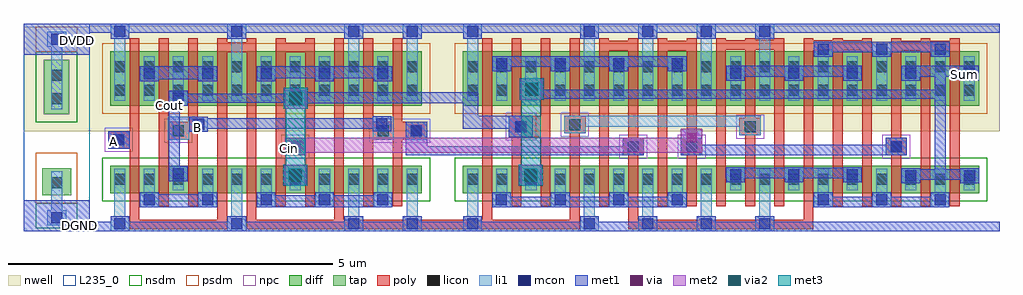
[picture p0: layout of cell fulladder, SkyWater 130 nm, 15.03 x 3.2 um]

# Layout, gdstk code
import gdstk
lib = gdstk.Library(unit=1e-6, precision=1e-09)
def R(c, l, rs):  # rectangles x0, y0, x1, y1
    for r in rs: c.add(gdstk.rectangle(r[:2], r[2:], *l))
def A(c, l, x, y, w, h, nx, ny, dx, dy):  # array of equal rectangles
    R(c, l, [(x+i*dx, y+j*dy, x+i*dx+w, y+j*dy+h) for i in range(nx) for j in range(ny)])
nwell = (64, 20)
diff = (65, 20)
tap = (65, 44)
poly = (66, 20)
licon = (66, 44)
li1 = (67, 20)
mcon = (67, 44)
met1 = (68, 20)
via = (68, 44)
met2 = (69, 20)
via2 = (69, 44)
met3 = (70, 20)
nsdm = (93, 44)
psdm = (94, 20)
npc = (95, 20)
L235_0 = (235, 0)

pfet = lib.new_cell('pfet')
R(pfet, nwell, [(-0.315,-0.39,1.065,1.23)])
R(pfet, diff, [(0,0,0.75,0.84)])
R(pfet, poly, [(0.3,-0.2,0.45,1.04)])
R(pfet, licon, [(0.065,0.155,0.235,0.325), (0.515,0.155,0.685,0.325), (0.065,0.515,0.235,0.685), (0.515,0.515,0.685,0.685)])
R(pfet, li1, [(0.065,0.075,0.235,0.765), (0.515,0.075,0.685,0.765)])
R(pfet, psdm, [(-0.125,-0.125,0.875,0.965)])

vias_gen_1 = lib.new_cell('vias_gen$1')
R(vias_gen_1, poly, [(0,0,0.37,0.33)])
R(vias_gen_1, licon, [(0.1,0.08,0.27,0.25)])
R(vias_gen_1, li1, [(0,0,0.37,0.33)])
R(vias_gen_1, mcon, [(0.1,0.08,0.27,0.25)])
R(vias_gen_1, met1, [(0,0,0.37,0.33)])
R(vias_gen_1, npc, [(-0.05,-0.05,0.42,0.38)])

nfet = lib.new_cell('nfet')
R(nfet, diff, [(0,0,0.75,0.42)])
R(nfet, poly, [(0.3,-0.2,0.45,0.62)])
R(nfet, licon, [(0.065,0.125,0.235,0.295), (0.515,0.125,0.685,0.295)])
R(nfet, li1, [(0.065,0.045,0.235,0.375), (0.515,0.045,0.685,0.375)])
R(nfet, nsdm, [(-0.125,-0.125,0.875,0.545)])

vias_gen_1_1 = lib.new_cell('vias_gen$1$1')
R(vias_gen_1_1, li1, [(0,0,0.29,0.23)])
R(vias_gen_1_1, mcon, [(0.06,0.03,0.23,0.2)])
R(vias_gen_1_1, met1, [(0,0,0.29,0.23)])

vias_gen_5 = lib.new_cell('vias_gen$5')
R(vias_gen_5, met1, [(0,0,0.37,0.33)])
R(vias_gen_5, via, [(0.11,0.09,0.26,0.24)])
R(vias_gen_5, met2, [(0,0,0.37,0.33)])
R(vias_gen_5, via2, [(0.085,0.065,0.285,0.265)])
R(vias_gen_5, met3, [(0,0,0.37,0.33)])

vias_gen_2 = lib.new_cell('vias_gen$2')
R(vias_gen_2, poly, [(0,0,0.33,0.27)])
R(vias_gen_2, licon, [(0.08,0.05,0.25,0.22)])
R(vias_gen_2, li1, [(0,0,0.33,0.27)])
R(vias_gen_2, mcon, [(0.08,0.05,0.25,0.22)])
R(vias_gen_2, met1, [(0,0,0.33,0.27)])
R(vias_gen_2, npc, [(-0.05,-0.05,0.38,0.32)])

vias_gen_3 = lib.new_cell('vias_gen$3')
R(vias_gen_3, poly, [(0,0,0.33,0.27)])
R(vias_gen_3, licon, [(0.08,0.05,0.25,0.22)])
R(vias_gen_3, li1, [(0,0,0.33,0.27)])
R(vias_gen_3, npc, [(-0.05,-0.05,0.38,0.32)])

vias_gen_4 = lib.new_cell('vias_gen$4')
R(vias_gen_4, met1, [(0,0,0.33,0.27)])
R(vias_gen_4, via, [(0.09,0.06,0.24,0.21)])
R(vias_gen_4, met2, [(0,0,0.33,0.27)])

vias_gen = lib.new_cell('vias_gen')
R(vias_gen, li1, [(0,0,0.29,0.23)])
R(vias_gen, mcon, [(0.06,0.03,0.23,0.2)])
R(vias_gen, met1, [(0,0,0.29,0.23)])

tap_ = lib.new_cell('tap')
R(tap_, nwell, [(-1.455,0.92,-0.435,2.525)])
R(tap_, tap, [(-1.17,-0.07,-0.72,0.35), (-1.14,1.18,-0.75,2.02)])
R(tap_, licon, [(-1.03,0.04,-0.86,0.21), (-1.03,1.335,-0.86,1.505), (-1.03,1.695,-0.86,1.865)])
R(tap_, li1, [(-1.03,-0.3,-0.86,-0.025), (-1.03,-0.025,-0.86,0.305), (-1.03,1.255,-0.86,1.945), (-1.03,1.945,-0.86,2.25)])
R(tap_, met1, [(-1.455,-0.625,-0.435,-0.145), (-1.455,2.095,-0.435,2.575)])
R(tap_, nsdm, [(-1.265,-0.575,-0.625,-0.195), (-1.265,1.055,-0.625,2.145)])
R(tap_, psdm, [(-1.265,-0.195,-0.625,0.59), (-1.265,2.145,-0.625,2.525)])
R(tap_, L235_0, [(-1.455,-0.625,-0.435,2.575)])
tap_.add(gdstk.Reference(vias_gen, (-1.09,-0.53)))
tap_.add(gdstk.Reference(vias_gen, (-1.09,2.22)))

fulladder = lib.new_cell('fulladder')
A(fulladder, poly, -4.56, -1.45, 0.15, 0.525, 10, 1, 0.45, 0)
A(fulladder, poly, 0.87, -1.45, 0.15, 0.525, 17, 1, 0.45, 0)
R(fulladder, poly, [(-4.56,-2.63,-4.41,-2.27), (-4.41,-2.63,-3.21,-2.48), (-3.21,-2.63,-3.06,-2.27), (-2.76,-2.63,-2.61,-2.27), (-2.61,-2.63,-1.41,-2.48), (-1.41,-2.63,-1.26,-2.27), (-1.26,-2.63,0.87,-2.48), (0.87,-2.63,1.02,-2.27), (1.02,-2.63,2.22,-2.48), (2.22,-2.63,2.37,-2.27), (3.12,-2.63,3.27,-2.27), (3.27,-2.63,5.82,-2.48), (5.82,-2.63,5.97,-2.27), (-0.36,-1.245,-0.31,-0.975), (1.65,-1.21,1.77,-0.88), (-2.16,0.095,-1.86,0.245), (-3.06,0.1,-2.76,0.25), (2.82,0.125,3.12,0.275), (3.72,0.125,4.02,0.275), (7.32,0.125,7.62,0.275), (7.77,0.125,8.07,0.275), (5.97,0.13,6.27,0.28), (6.42,0.13,6.72,0.28), (4.62,0.135,4.92,0.285), (5.07,0.14,5.37,0.29)])
A(fulladder, li1, 2.435, -2.46, 0.17, 0.435, 4, 1, 0.9, 0)
A(fulladder, li1, -4.345, -2.07, 0.17, 0.045, 5, 1, 0.9, 0)
A(fulladder, li1, 1.085, -2.07, 0.17, 0.045, 4, 1, 0.9, 0)
A(fulladder, li1, 6.035, -2.07, 0.17, 0.045, 3, 1, 0.9, 0)
A(fulladder, li1, -4.795, 0.04, 0.17, 0.265, 3, 1, 1.8, 0)
R(fulladder, li1, [(-4.795,-2.46,-4.625,-2.025), (-2.995,-2.46,-2.825,-2.02), (-1.195,-2.46,-1.025,-2.025), (-0.295,-2.46,-0.125,-2.025), (0.635,-2.46,0.805,-2.025), (2.46,-1.05,4.83,-0.88), (-3.975,-0.975,-3.645,-0.895), (-0.82,-0.975,-0.49,-0.895), (4.83,-0.91,5.16,-0.88), (0.635,0.035,0.805,0.31), (3.335,0.035,3.505,0.31), (-0.295,0.04,-0.125,0.305), (2.435,0.04,2.605,0.34), (4.235,0.04,4.405,0.31), (5.135,0.04,5.305,0.31)])
R(fulladder, met1, [(-5.175,-2.66,8.835,-2.515), (-4.35,-2.29,-3.285,-2.085), (-2.545,-2.29,-0.575,-2.1), (1.08,-2.29,3.965,-2.125), (5.97,-2.29,8.01,-2.125), (7.325,-1.865,8.465,-1.7), (4.62,-1.845,6.66,-1.68), (7.835,-1.7,8.005,-0.275), (-3.955,-1.66,-3.785,-0.725), (-0.31,-1.49,3.03,-1.35), (4.26,-1.49,7.08,-1.325), (-0.31,-1.35,0.02,-1.245), (-3.355,-1.08,-0.82,-0.915), (0.57,-1.08,0.81,-0.685), (0.81,-1.08,1.28,-0.88), (-1.82,-0.685,0.81,-0.52), (-3.665,-0.68,-2.155,-0.54), (1.53,-0.62,7.835,-0.48), (-4.345,-0.32,-3.28,-0.115), (-2.55,-0.305,-0.58,-0.115), (4.63,-0.275,6.67,-0.11), (7.325,-0.275,8.465,-0.11), (1.08,-0.125,3.965,0.04), (6.01,0.095,8.05,0.26), (-5.175,0.4,8.835,0.54)])
R(fulladder, met2, [(-1.845,-1.45,4.26,-1.22)])
R(fulladder, met3, [(-2.16,-1.63,-1.86,-0.775), (1.47,-1.63,1.77,-0.635)])
R(fulladder, npc, [(-0.44,-1.295,-0.36,-0.925)])
fulladder.add(gdstk.Reference(pfet, (1.47,-0.725)))
fulladder.add(gdstk.Reference(vias_gen_1, (1.28,-1.21)))
fulladder.add(gdstk.Reference(nfet, (1.02,-2.07)))
fulladder.add(gdstk.Reference(pfet, (1.02,-0.725)))
fulladder.add(gdstk.Reference(pfet, (0.57,-0.725)))
fulladder.add(gdstk.Reference(nfet, (0.57,-2.07)))
fulladder.add(gdstk.Reference(pfet, (1.47,-0.725)))
fulladder.add(gdstk.Reference(vias_gen_1_1, (8.225,-0.34)))
fulladder.add(gdstk.Reference(vias_gen_1_1, (7.325,-0.34)))
fulladder.add(gdstk.Reference(vias_gen_1_1, (8.23,-1.92)))
fulladder.add(gdstk.Reference(vias_gen_1_1, (7.325,-1.92)))
fulladder.add(gdstk.Reference(vias_gen_1_1, (5.975,0.03)))
fulladder.add(gdstk.Reference(vias_gen_1_1, (6.875,0.03)))
fulladder.add(gdstk.Reference(vias_gen_1_1, (7.78,0.03)))
fulladder.add(gdstk.Reference(vias_gen_1_1, (4.625,-1.9)))
fulladder.add(gdstk.Reference(vias_gen_1_1, (5.525,-1.9)))
fulladder.add(gdstk.Reference(vias_gen_1_1, (6.425,-1.9)))
fulladder.add(gdstk.Reference(vias_gen_1_1, (6.425,-0.34)))
fulladder.add(gdstk.Reference(vias_gen_1_1, (5.525,-0.34)))
fulladder.add(gdstk.Reference(vias_gen_1_1, (4.625,-0.34)))
fulladder.add(gdstk.Reference(vias_gen_1_1, (1.925,-0.19)))
fulladder.add(gdstk.Reference(vias_gen_1_1, (2.825,-0.19)))
fulladder.add(gdstk.Reference(vias_gen_1_1, (3.725,-0.19)))
fulladder.add(gdstk.Reference(vias_gen_1_1, (1.925,-2.29)))
fulladder.add(gdstk.Reference(vias_gen_1_1, (1.475,-1.96)))
fulladder.add(gdstk.Reference(vias_gen_1_1, (2.825,-2.29)))
fulladder.add(gdstk.Reference(vias_gen_1_1, (3.725,-2.29)))
fulladder.add(gdstk.Reference(vias_gen_1_1, (5.075,-2.66)))
fulladder.add(gdstk.Reference(vias_gen_1_1, (2.375,-2.66)))
fulladder.add(gdstk.Reference(vias_gen_1_1, (4.175,-2.66)))
fulladder.add(gdstk.Reference(vias_gen_1_1, (3.275,-2.66)))
fulladder.add(gdstk.Reference(vias_gen_1_1, (1.48,-0.58)))
fulladder.add(gdstk.Reference(vias_gen_5, (1.445,-0.635)))
fulladder.add(gdstk.Reference(vias_gen_1_1, (5.975,-2.29)))
fulladder.add(gdstk.Reference(vias_gen_1_1, (6.875,-2.29)))
fulladder.add(gdstk.Reference(vias_gen_5, (1.435,-1.96)))
fulladder.add(gdstk.Reference(vias_gen_1_1, (7.775,-2.29)))
fulladder.add(gdstk.Reference(vias_gen_1_1, (2.375,0.31)))
fulladder.add(gdstk.Reference(vias_gen_1_1, (3.275,0.31)))
fulladder.add(gdstk.Reference(vias_gen_1_1, (4.175,0.31)))
fulladder.add(gdstk.Reference(vias_gen_1_1, (5.075,0.31)))
fulladder.add(gdstk.Reference(nfet, (1.47,-2.07)))
fulladder.add(gdstk.Reference(pfet, (7.77,-0.725)))
fulladder.add(gdstk.Reference(vias_gen_2, (3.93,-1.49)))
fulladder.add(gdstk.Reference(vias_gen_3, (2.13,-1.15)))
fulladder.add(gdstk.Reference(vias_gen_4, (3.93,-1.35)))
fulladder.add(gdstk.Reference(vias_gen_2, (3.03,-1.49)))
fulladder.add(gdstk.Reference(vias_gen_3, (4.83,-1.18)))
fulladder.add(gdstk.Reference(vias_gen_2, (7.08,-1.49)))
fulladder.add(gdstk.Reference(nfet, (1.92,-2.07)))
fulladder.add(gdstk.Reference(pfet, (2.82,-0.725)))
fulladder.add(gdstk.Reference(nfet, (2.82,-2.07)))
fulladder.add(gdstk.Reference(pfet, (3.27,-0.725)))
fulladder.add(gdstk.Reference(nfet, (3.27,-2.07)))
fulladder.add(gdstk.Reference(nfet, (2.37,-2.07)))
fulladder.add(gdstk.Reference(pfet, (2.37,-0.725)))
fulladder.add(gdstk.Reference(pfet, (3.72,-0.725)))
fulladder.add(gdstk.Reference(nfet, (3.72,-2.07)))
fulladder.add(gdstk.Reference(nfet, (4.62,-2.07)))
fulladder.add(gdstk.Reference(pfet, (4.62,-0.725)))
fulladder.add(gdstk.Reference(nfet, (4.17,-2.07)))
fulladder.add(gdstk.Reference(pfet, (5.07,-0.725)))
fulladder.add(gdstk.Reference(pfet, (5.07,-0.725)))
fulladder.add(gdstk.Reference(nfet, (5.07,-2.07)))
fulladder.add(gdstk.Reference(pfet, (5.97,-0.725)))
fulladder.add(gdstk.Reference(nfet, (5.97,-2.07)))
fulladder.add(gdstk.Reference(pfet, (6.42,-0.725)))
fulladder.add(gdstk.Reference(pfet, (4.17,-0.725)))
fulladder.add(gdstk.Reference(nfet, (6.42,-2.07)))
fulladder.add(gdstk.Reference(nfet, (5.52,-2.07)))
fulladder.add(gdstk.Reference(pfet, (6.87,-0.725)))
fulladder.add(gdstk.Reference(pfet, (1.92,-0.725)))
fulladder.add(gdstk.Reference(nfet, (6.87,-2.07)))
fulladder.add(gdstk.Reference(nfet, (7.77,-2.07)))
fulladder.add(gdstk.Reference(nfet, (7.32,-2.07)))
fulladder.add(gdstk.Reference(pfet, (7.32,-0.725)))
fulladder.add(gdstk.Reference(pfet, (5.52,-0.725)))
fulladder.add(gdstk.Reference(pfet, (-3.51,-0.725)))
fulladder.add(gdstk.Reference(nfet, (-4.86,-2.07)))
fulladder.add(gdstk.Reference(nfet, (-4.41,-2.07)))
fulladder.add(gdstk.Reference(pfet, (-2.16,-0.725)))
fulladder.add(gdstk.Reference(pfet, (-4.86,-0.725)))
fulladder.add(gdstk.Reference(tap_, (-4.74,-2.035)))
fulladder.add(gdstk.Reference(pfet, (-4.41,-0.725)))
fulladder.add(gdstk.Reference(pfet, (-3.96,-0.725)))
fulladder.add(gdstk.Reference(vias_gen_5, (-2.19,-0.775)))
fulladder.add(gdstk.Reference(vias_gen_5, (-2.195,-1.96)))
fulladder.add(gdstk.Reference(vias_gen_3, (-0.82,-1.245)))
fulladder.add(gdstk.Reference(vias_gen_3, (-3.975,-1.245)))
fulladder.add(gdstk.Reference(nfet, (-3.51,-2.07)))
fulladder.add(gdstk.Reference(vias_gen_1_1, (-0.82,-1.12)))
fulladder.add(gdstk.Reference(vias_gen_1_1, (-3.645,-1.125)))
fulladder.add(gdstk.Reference(vias_gen_1_1, (-2.155,-1.96)))
fulladder.add(gdstk.Reference(vias_gen_1_1, (-4.405,-2.29)))
fulladder.add(gdstk.Reference(vias_gen_1_1, (-2.605,-0.345)))
fulladder.add(gdstk.Reference(vias_gen_1_1, (-2.605,-2.29)))
fulladder.add(gdstk.Reference(vias_gen_1_1, (-3.505,-2.29)))
fulladder.add(gdstk.Reference(vias_gen_1_1, (-1.705,-0.345)))
fulladder.add(gdstk.Reference(vias_gen_1_1, (-1.705,-2.29)))
fulladder.add(gdstk.Reference(vias_gen_1_1, (-0.805,-2.29)))
fulladder.add(gdstk.Reference(vias_gen_1_1, (-0.805,-0.345)))
fulladder.add(gdstk.Reference(vias_gen_1_1, (-3.505,-0.345)))
fulladder.add(gdstk.Reference(vias_gen_1_1, (-4.405,-0.345)))
fulladder.add(gdstk.Reference(vias_gen_1_1, (-0.355,0.305)))
fulladder.add(gdstk.Reference(vias_gen_1_1, (-3.955,-0.725)))
fulladder.add(gdstk.Reference(vias_gen_1_1, (-3.955,-1.89)))
fulladder.add(gdstk.Reference(vias_gen_1_1, (-2.155,-0.72)))
fulladder.add(gdstk.Reference(vias_gen_1_1, (0.575,0.31)))
fulladder.add(gdstk.Reference(vias_gen_1_1, (1.02,-2.29)))
fulladder.add(gdstk.Reference(vias_gen_1_1, (1.025,-0.19)))
fulladder.add(gdstk.Reference(vias_gen_1_1, (0.575,-2.66)))
fulladder.add(gdstk.Reference(vias_gen_1_1, (-3.055,-2.66)))
fulladder.add(gdstk.Reference(vias_gen_1_1, (-4.855,-2.66)))
fulladder.add(gdstk.Reference(vias_gen_1_1, (-1.255,-2.66)))
fulladder.add(gdstk.Reference(vias_gen_1_1, (-0.355,-2.66)))
fulladder.add(gdstk.Reference(vias_gen_1_1, (-1.255,0.305)))
fulladder.add(gdstk.Reference(vias_gen_1_1, (-3.055,0.305)))
fulladder.add(gdstk.Reference(vias_gen_1_1, (-4.855,0.305)))
fulladder.add(gdstk.Reference(nfet, (-2.61,-2.07)))
fulladder.add(gdstk.Reference(pfet, (-2.61,-0.725)))
fulladder.add(gdstk.Reference(nfet, (-3.06,-2.07)))
fulladder.add(gdstk.Reference(vias_gen_2, (-4.89,-1.385)))
fulladder.add(gdstk.Reference(vias_gen_2, (-2.175,-1.49)))
fulladder.add(gdstk.Reference(vias_gen_4, (-2.175,-1.49)))
fulladder.add(gdstk.Reference(vias_gen_2, (-0.31,-1.245)))
fulladder.add(gdstk.Reference(nfet, (-0.81,-2.07)))
fulladder.add(gdstk.Reference(pfet, (-0.81,-0.725)))
fulladder.add(gdstk.Reference(pfet, (-0.81,-0.725)))
fulladder.add(gdstk.Reference(pfet, (-1.71,-0.725)))
fulladder.add(gdstk.Reference(nfet, (-1.71,-2.07)))
fulladder.add(gdstk.Reference(pfet, (-3.06,-0.725)))
fulladder.add(gdstk.Reference(nfet, (-3.96,-2.07)))
fulladder.add(gdstk.Reference(pfet, (-1.26,-0.725)))
fulladder.add(gdstk.Reference(nfet, (-1.26,-2.07)))
fulladder.add(gdstk.Reference(nfet, (-2.16,-2.07)))
fulladder.add(gdstk.Label('B', (-3.52,-1.06), layer=68, texttype=20))
fulladder.add(gdstk.Label('Sum', (8.29,-0.24), layer=68, texttype=20))
fulladder.add(gdstk.Label('A', (-4.815,-1.275), layer=68, texttype=20))
fulladder.add(gdstk.Label('Cout', (-3.94,-0.715), layer=68, texttype=20))
fulladder.add(gdstk.Label('DVDD', (-5.36,0.28), layer=68, texttype=20))
fulladder.add(gdstk.Label('DGND', (-5.34,-2.57), layer=68, texttype=20))
fulladder.add(gdstk.Label('Cin', (-2.095,-1.39), layer=69, texttype=20))

lib.write_gds('fulladder.gds')
